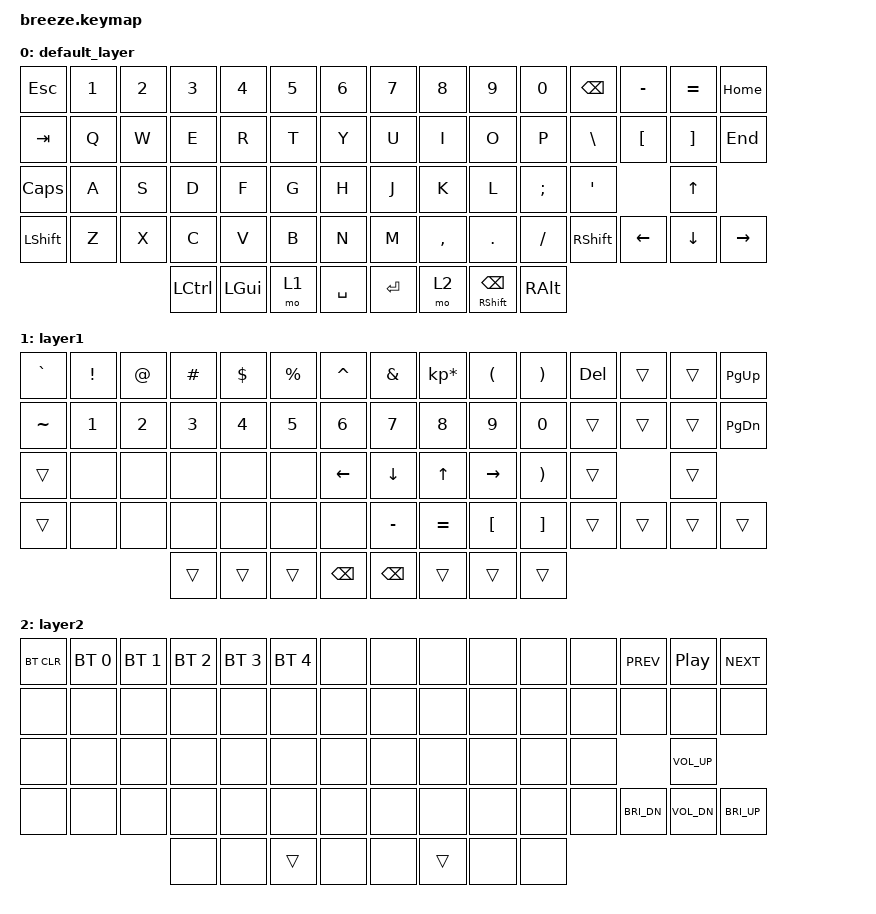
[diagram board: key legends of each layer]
/*
 * Copyright (c) 2020 The ZMK Contributors
 *
 * SPDX-License-Identifier: MIT
 */

#include <behaviors.dtsi>
#include <dt-bindings/zmk/keys.h>
#include <dt-bindings/zmk/bt.h>
#include <dt-bindings/zmk/ext_power.h>

/ {
	keymap {
		compatible = "zmk,keymap";

		default_layer {

// Ref: https://zmkfirmware.dev/docs/codes/

// ----------------------------------------------------------------------------------------------------------------------------------
// |  ESC  |  1  |  2  |  3   |  4   |   5   |                   |   6   |  7  |  8  |  9   |   0   | BSPC  |   |  -  |   =  | HOME |
// |  TAB  |  Q  |  W  |  E   |  R   |   T   |                   |   Y   |  U  |  I  |  O   |   P   |   \   |   |  [  |   ]  | END  |
// |  CAPS |  A  |  S  |  D   |  F   |   G   |                   |   H   |  J  |  K  |  L   |   ;   |   '   |   |     |  UP  |      |
// | SHIFT |  Z  |  X  |  C   |  V   |   B   |                   |   N   |  M  |  ,  |  .   |   /   | SHIFT |   |  L  |  DN  |  R   |
//                     | CTRL | GUI  | mo(1) | SPACE |   | ENTER | mo(2) |SH/BK| ALT |
			bindings = <
&kp ESC   &kp N1 &kp N2 &kp N3    &kp N4   &kp N5                     &kp N6   &kp N7   &kp N8    &kp N9  &kp N0   &kp BSPC     &kp MINUS &kp EQUAL &kp HOME
&kp TAB   &kp Q  &kp W  &kp E     &kp R    &kp T                      &kp Y    &kp U    &kp I     &kp O   &kp P    &kp BSLH     &kp LBKT  &kp RBKT  &kp END
&kp CAPS  &kp A  &kp S  &kp D     &kp F    &kp G                      &kp H    &kp J    &kp K     &kp L   &kp SEMI &kp APOS               &kp UP 
&kp LSHFT &kp Z  &kp X  &kp C     &kp V    &kp B                      &kp N    &kp M    &kp COMMA &kp DOT &kp FSLH &kp RSHFT    &kp LEFT  &kp DOWN  &kp RIGHT
                        &kp LCTRL &kp LGUI &mo 1  &kp SPACE  &kp RET  &mo 2    &mt RSHFT BSPC &kp RALT
			>;
		};

		layer1 {
// ---------------------------------------------------------------------------------------------------------------------------------- 
// |   `   |  !  |  @  |  #   |  $   |  %   |                   |  ^   |   &   |   *   |  (   |   )   |  DEL  |   |      |      | PGUP | 
// |   ~   |  1  |  2  |  3   |  4   |  5   |                   |  6   |   7   |   8   |  9   |   0   |       |   |      |      | PGDN | 
// |       |     |     |      |      |      |                   |  L   |   DN  |  UP   |  R   |       |       |   |      |      |      | 
// |       |     |     |      |      |      |                   |      |   -   |   =   |   [  |   ]   |       |   |      |      |      | 
//                     |      |      |      |        |  |       |      |       |       |
			bindings = <
&kp GRAVE &kp EXCL &kp AT &kp HASH &kp DOLLAR &kp PRCNT                      &kp CARET &kp AMPS  &kp KP_MULTIPLY &kp LPAR  &kp RPAR  &kp DEL       &trans &trans &kp PG_UP   
&kp TILDE &kp N1   &kp N2 &kp N3   &kp N4     &kp N5                         &kp N6    &kp N7    &kp N8          &kp N9    &kp N0    &trans        &trans &trans &kp PG_DN 
&trans    &none    &none  &none    &none      &none                          &kp LEFT  &kp DOWN  &kp UP          &kp RIGHT &kp RPAR  &trans               &trans       
&trans    &none    &none  &none    &none      &none                          &none     &kp MINUS &kp EQUAL       &kp LBKT  &kp RBKT  &trans        &trans &trans &trans
                          &trans   &trans     &trans    &kp BSPC   &kp BSPC  &trans    &trans    &trans
			>;
		};

		layer2 {
// ---------------------------------------------------------------------------------------------------------------------------------- 
// | BT_CLR | BT_SEL 0 | BT_SEL 1 | BT_SEL 2 | BT_SEL 3 | BT_SEL 4 |                   |      |       |       |      |       |       |   |  PREV  |  PLAY  |  NEXT  |
// |        |          |          |          |          |          |                   |      |       |       |      |       |       |   |        |        |        | 
// |        |          |          |          |          |          |                   |      |       |       |      |       |       |   |        | VOL_UP |        | 
// |        |          |          |          |          |          |                   |      |       |       |      |       |       |   | BRI_DN | VOL_DN | BRI_UP | 
//                     |          |          |          |          |        |  |       |      |       |
			bindings = <
&bt BT_CLR  &bt BT_SEL 0 &bt BT_SEL 1 &bt BT_SEL 2  &bt BT_SEL 3  &bt BT_SEL 4                       &none    &none   &none    &none    &none   &none      &kp C_PREV    &kp C_PP      &kp C_NEXT
&none       &none        &none        &none         &none         &none                              &none    &none   &none    &none    &none   &none      &none         &none         &none 
&none       &none        &none        &none         &none         &none                              &none    &none   &none    &none    &none   &none                    &kp C_VOL_UP           
&none       &none        &none        &none         &none         &none                              &none    &none   &none    &none    &none   &none      &kp C_BRI_DN  &kp C_VOL_DN  &kp C_BRI_UP
                                      &none         &none         &trans        &none        &none   &trans   &none  &none
			>;
		};
	};
};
